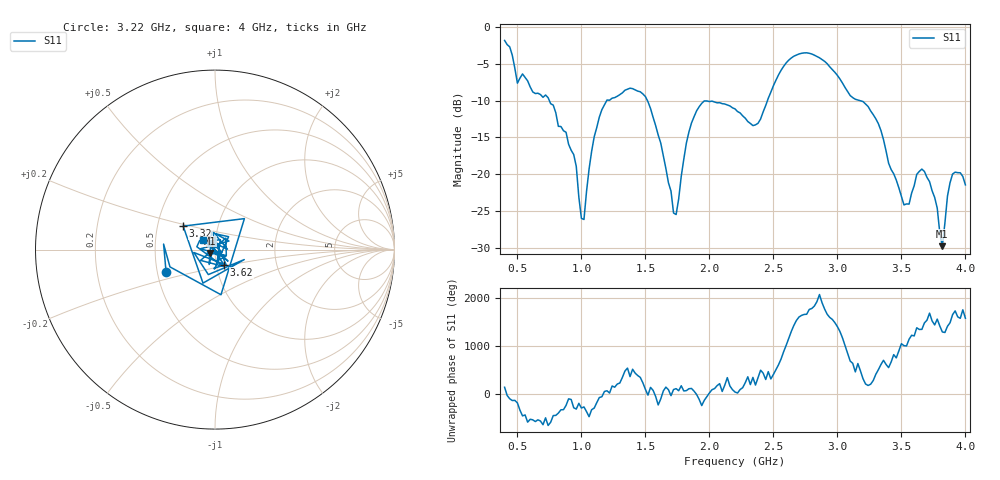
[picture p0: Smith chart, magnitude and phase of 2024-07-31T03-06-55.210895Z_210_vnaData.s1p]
!Created with skrf (http://scikit-rf.org).
# Hz S RI R 50.0
!freq ReS11 ImS11
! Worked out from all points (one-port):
!   181 points, 400 MHz to 4 GHz, reference 50 ohm
!   lowest |S11| = -29.8 dB at 3.82 GHz (marker M1), VSWR 1.07, Z = 47.4 - j1.73 ohm
!   |S11| at or under -10 dB: 749.4 MHz to 1.198 GHz (448.5 MHz wide, 46.1 % of centre); 1.516 GHz to 2.454 GHz (938.1 MHz wide, 47.3 % of centre); 3.175 GHz to end of sweep
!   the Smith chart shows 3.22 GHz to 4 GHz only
!   S11 on the Smith chart (normalised r, x): 3.22 GHz: 0.56, -0.15; 3.32 GHz: 0.68, +0.19; 3.62 GHz: 1.09, -0.19; 4 GHz: 0.87, +0.09
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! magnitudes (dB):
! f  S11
! 400 MHz  -1.8
! 500 MHz  -7.6
! 720 MHz  -9.2
! 860 MHz  -14.1
! 940 MHz  -17.3
! 1.02 GHz  -26.1
! 1.08 GHz  -16.9
! 1.14 GHz  -12.2
! 1.3 GHz  -9.2
! 1.5 GHz  -9.5
! 1.62 GHz  -15.8
! 1.72 GHz  -25.3
! 1.76 GHz  -23.3
! 1.82 GHz  -15.8
! 1.92 GHz  -10.8
! 2.2 GHz  -11.1
! 2.38 GHz  -13.1
! 2.66 GHz  -4.0
! 2.88 GHz  -4.4
! 3.1 GHz  -9.3
! 3.22 GHz  -10.5
! 3.32 GHz  -13.1
! 3.56 GHz  -24.1
! 3.62 GHz  -20.0
! 3.72 GHz  -21.0
! 3.82 GHz  -29.8
! 3.9 GHz  -20.0
! 4 GHz  -21.4
